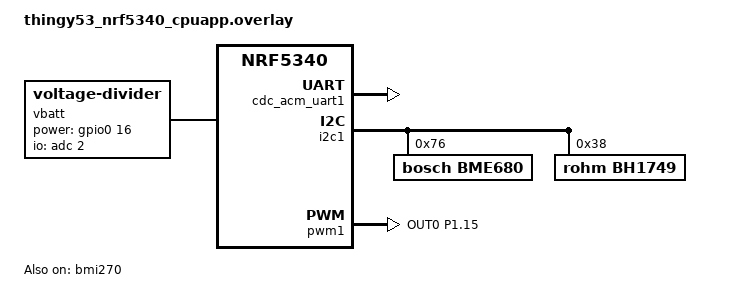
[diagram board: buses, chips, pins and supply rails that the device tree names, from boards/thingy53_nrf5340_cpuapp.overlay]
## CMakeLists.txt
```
cmake_minimum_required(VERSION 3.20.0)
find_package(Zephyr REQUIRED HINTS $ENV{ZEPHYR_BASE})

project(GET_SAMPLE)

set(app_sources
  src/main.c
  src/device_config/device_config.c
  src/command_handler/command_handler.c
  src/parsing_json/json_handler.c
  src/sensor/bmi270.c
  src/thread_handler/bluetooth_handler/bluetooth_handler.c
  src/thread_handler/sensor_handler/sensor_handler.c
  src/thread_handler/sensor_handler/sensor_init.c
  src/thread_handler/sensor_handler/sensor_threads.c
  src/thread_handler/sensor_handler/sensor_callback.c
  src/thread_handler/uart_handler/uart_handler.c
  src/thread_handler/buzzer_handler/buzzer_handler.c
)

target_sources(app PRIVATE ${app_sources})
```

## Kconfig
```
#
# Copyright (c) 2018 Nordic Semiconductor
#
# SPDX-License-Identifier: LicenseRef-Nordic-5-Clause
#

source "Kconfig.zephyr"

menu "Nordic Back Belt"

config BT_NUS_THREAD_STACK_SIZE
	int "Thread stack size"
	default 1024
	help
	  Stack size used in each of the two threads

config BT_NUS_UART_BUFFER_SIZE
	int "UART payload buffer element size"
	default 40
	help
	  Size of the payload buffer in each RX and TX FIFO element

config BT_NUS_SECURITY_ENABLED
	bool "Enable security"
	default y
	select BT_SMP
	help
	  "Enable BLE security for the UART service"

config BT_NUS_UART_RX_WAIT_TIME
	int "Timeout for UART RX complete event"
	default 50000
	help
	  Wait for RX complete event time in microseconds

config SETTINGS
	default y

config ZMS
	default y if (SOC_FLASH_NRF_RRAM || SOC_FLASH_NRF_MRAM)

config NVS
	default y if !(SOC_FLASH_NRF_RRAM || SOC_FLASH_NRF_MRAM)

endmenu
```

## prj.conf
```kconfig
#
# Copyright (c) 2018 Nordic Semiconductor
# SPDX-License-Identifier: LicenseRef-Nordic-5-Clause
#

# ================= UART / CONSOLE =================
CONFIG_SERIAL=y
CONFIG_CONSOLE=y
CONFIG_UART_CONSOLE=y
CONFIG_UART_ASYNC_API=y
CONFIG_NRFX_UARTE0=y

# ================= GPIO =================
CONFIG_GPIO=y

# ================= PWM (for buzzer) =================
CONFIG_PWM=y

# ================= Memory =================
CONFIG_HEAP_MEM_POOL_SIZE=16384
CONFIG_SYSTEM_WORKQUEUE_STACK_SIZE=4096
CONFIG_MAIN_STACK_SIZE=4096

# BT_NUS thread stack size - increased for sensor threads
# Each sensor thread needs adequate stack for mutex, sensor API, and JSON formatting
CONFIG_BT_NUS_THREAD_STACK_SIZE=2048

# ================= Bluetooth Low Energy (BLE) =================
CONFIG_BT=y
CONFIG_BT_PERIPHERAL=y
CONFIG_BT_DEVICE_NAME="BACKBELT_0123"
CONFIG_BT_NUS=y

# ================= Bluetooth Settings & Storage =================
CONFIG_BT_SETTINGS=y
CONFIG_SETTINGS=y
CONFIG_FLASH=y
CONFIG_FLASH_PAGE_LAYOUT=y
CONFIG_FLASH_MAP=y
CONFIG_NVS=y

# ================= DK Library (Buttons/LEDs) =================
CONFIG_DK_LIBRARY=y

# ================= Logging (RTT Backend) =================
CONFIG_LOG=y
CONFIG_LOG_BACKEND_UART=n
CONFIG_LOG_PRINTK=y
CONFIG_USE_SEGGER_RTT=y
CONFIG_LOG_BACKEND_RTT=y
CONFIG_ASSERT=y

# ================= Printf/Floating Point Support =================
CONFIG_CBPRINTF_FP_SUPPORT=y
CONFIG_MINIMAL_LIBC_OPTIMIZE_STRING_FOR_SIZE=n

# ================= MCUboot & MCUmgr (DFU/OTA) =================
CONFIG_BOOTLOADER_MCUBOOT=y
CONFIG_IS_BOOTLOADER=y
CONFIG_MCUMGR=y
CONFIG_MCUMGR_TRANSPORT_BT=y
CONFIG_MCUMGR_LOG_LEVEL_DBG=y
CONFIG_IMG_MANAGER=y
CONFIG_MCUMGR_GRP_IMG=y
CONFIG_MCUMGR_GRP_OS=y

# ================= Sensors - I2C =================
CONFIG_I2C=y
CONFIG_SENSOR=y
CONFIG_BME680=y
CONFIG_BH1749=y
CONFIG_BH1749_TRIGGER=y

# ================= Sensors - SPI (ADXL362) =================
CONFIG_SPI_RTIO=y
CONFIG_SENSOR_ASYNC_API=y
CONFIG_ADXL362_STREAM=y
CONFIG_ADXL362_ACCEL_ODR_400=y

# ================= Build Configuration =================
CONFIG_BUILD_OUTPUT_META=n
CONFIG_WATCHDOG=y

# ================= C++ Support for TensorFlow Lite Micro =================
CONFIG_CPP=y
CONFIG_STD_CPP17=y
CONFIG_NEWLIB_LIBC=y
CONFIG_NEWLIB_LIBC_FLOAT_PRINTF=y
CONFIG_NEWLIB_LIBC_FLOAT_SCANF=y

# ================= TensorFlow Lite Micro =================
CONFIG_TENSORFLOW_LITE_MICRO=y

# ================= Timing API for Performance Measurement =================
CONFIG_TIMING_FUNCTIONS=y
CONFIG_NRF_GRTC_TIMER=y

CONFIG_ADC=y
CONFIG_BT_BAS=y
#CONFIG_BT_BAS_BATTERY_LEVEL=y
```

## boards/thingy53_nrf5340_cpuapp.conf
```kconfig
#
# Copyright (c) 2021 Nordic Semiconductor ASA
#
# SPDX-License-Identifier: LicenseRef-Nordic-5-Clause
#
################################################################################
# Application overlay - Thingy:53 DFU

CONFIG_NCS_SAMPLE_MCUMGR_BT_OTA_DFU=y

CONFIG_SYSTEM_WORKQUEUE_STACK_SIZE=4096

################################################################################
# Configure USB CDC ACM

CONFIG_USB_DEVICE_PRODUCT="Thingy:53 Nordic UART Service sample"
CONFIG_USB_DEVICE_PID=0x530E
CONFIG_USB_COMPOSITE_DEVICE=y

# Enable back logging over UART as this sample config uses only RTT by default
CONFIG_LOG_BACKEND_UART=y

CONFIG_UART_ASYNC_ADAPTER=y
CONFIG_UART_INTERRUPT_DRIVEN=y

# Disable the UARTE0 enabled in default project configuration
CONFIG_NRFX_UARTE0=n
CONFIG_UART_NRFX=n
```

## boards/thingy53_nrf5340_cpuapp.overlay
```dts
/*
 * Copyright (c) 2021 Nordic Semiconductor ASA
 *
 * SPDX-License-Identifier: LicenseRef-Nordic-5-Clause
 */

/ {
	chosen {
		nordic,nus-uart = &cdc_acm_uart1;
	};

	aliases {
		buzzer-pwm = &buzzer;
	};

	buzzer: buzzer {
		status = "okay";
		pwms = <&pwm1 0 PWM_MSEC(20) PWM_POLARITY_NORMAL>;
	};

	vbatt {
		compatible = "voltage-divider";
		io-channels = <&adc 2>;
		output-ohms = <180000>;
		full-ohms = <(1500000 + 180000)>;
		power-gpios = <&gpio0 16 0>;
	};
};

&zephyr_udc0 {
	cdc_acm_uart1: cdc_acm_uart1 {
		compatible = "zephyr,cdc-acm-uart";
	};
};

&i2c1 {
	status = "okay";

	bme680: bme680@76 {
		compatible = "bosch,bme680";
		reg = <0x76>;
		status = "okay";
	};

	bh1749: bh1749@38 {
		compatible = "rohm,bh1749";
		reg = <0x38>;
		status = "okay";
	};
};

/* Enable BMI270 sensor on SPI (already defined in base device tree) */
&bmi270 {
	status = "okay";
};

/* PWM for buzzer on P1.15 (BZ1 on Thingy:53) */
&pwm1 {
	status = "okay";
	pinctrl-0 = <&pwm1_default>;
	pinctrl-1 = <&pwm1_sleep>;
	pinctrl-names = "default", "sleep";
};

&pinctrl {
	pwm1_default: pwm1_default {
		group1 {
			psels = <NRF_PSEL(PWM_OUT0, 1, 15)>;
		};
	};

	pwm1_sleep: pwm1_sleep {
		group1 {
			psels = <NRF_PSEL(PWM_OUT0, 1, 15)>;
			low-power-enable;
		};
	};
};
```

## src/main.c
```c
/*
 * Copyright (c) 2018 Nordic Semiconductor ASA
 *
 * SPDX-License-Identifier: LicenseRef-Nordic-5-Clause
 */

/** @file
 *  @brief Nordic UART Bridge Service (NUS) with AI Model Integration
 */

#include <zephyr/kernel.h>
#include <dk_buttons_and_leds.h>
#include <zephyr/logging/log.h>

#include "device_config/device_config.h"
#include "thread_handler/uart_handler/uart_handler.h"
#include "thread_handler/bluetooth_handler/bluetooth_handler.h"
#include "thread_handler/sensor_handler/sensor_handler.h"
#include "thread_handler/buzzer_handler/buzzer_handler.h"
#include "command_handler/command_handler.h"

#define LOG_MODULE_NAME peripheral_uart
LOG_MODULE_REGISTER(LOG_MODULE_NAME);

#define RUN_STATUS_LED DK_LED1
#define RUN_LED_BLINK_INTERVAL 1000

#define KEY_PASSKEY_ACCEPT DK_BTN1_MSK
#define KEY_PASSKEY_REJECT DK_BTN2_MSK

/* AI inference delay */
#define AI_INFERENCE_DELAY_MS 500

/* Export semaphore for sensor and BLE threads */
K_SEM_DEFINE(ble_init_ok, 0, 5);

/* Error handler */
static void error(void)
{
        dk_set_leds_state(DK_ALL_LEDS_MSK, DK_NO_LEDS_MSK);

        while (true)
        {
                k_sleep(K_MSEC(1000));
        }
}

/* GPIO configuration */
static void configure_gpio(void)
{
        int err;
        err = dk_leds_init();
        if (err)
        {
                LOG_ERR("Cannot init LEDs (err: %d)", err);
        }
}

/* AI inference thread */
#define AI_STACK_SIZE 8192
#define AI_PRIORITY 7
K_THREAD_STACK_DEFINE(ai_stack, AI_STACK_SIZE);
static struct k_thread ai_thread;

static void ai_inference_thread(void *a, void *b, void *c)
{
        ARG_UNUSED(a);
        ARG_UNUSED(b);
        ARG_UNUSED(c);

        LOG_INF("AI inference thread started");

        /* Initialize AI model */
        setup();

        /* Continuous inference loop */
        while (true)
        {
                loop();
                k_msleep(AI_INFERENCE_DELAY_MS);
        }
}

/* Main function */
int main(void)
{
        int blink_status = 0;
        int err = 0;

        LOG_INF("Starting Nordic UART Service with AI Model Integration");

        /* Configure GPIO (buttons and LEDs) */
        configure_gpio();

        /* Initialize device configuration (load from flash) */
        err = device_config_init();
        if (err)
        {
                LOG_WRN("Device config initialization had issues (err: %d), using defaults", err);
        }

        /* Initialize UART */
        err = uart_init();
        if (err)
        {
                LOG_ERR("UART initialization failed");
                error();
        }

        /* Initialize Bluetooth and start advertising */
        err = bluetooth_handler_init();
        if (err)
        {
                LOG_ERR("Bluetooth initialization failed");
                error();
        }

        err = buzzer_handler_init();
        if (err)
        {
                LOG_ERR("Buzzer initialization failed (err: %d), continuing without buzzer", err);
        }
        else
        {
                LOG_INF("Buzzer initialized successfully");
                /* Play boot notification */
                buzzer_play_notification(BUZZER_NOTIFY_BOOT);
                k_sleep(K_MSEC(500));
        }

        /* Initialize all sensors */
        err = sensor_handler_init();
        if (err)
        {
                LOG_WRN("Sensor initialization had warnings (err: %d), continuing", err);
        }


        LOG_INF("Initialization complete");

}
```
